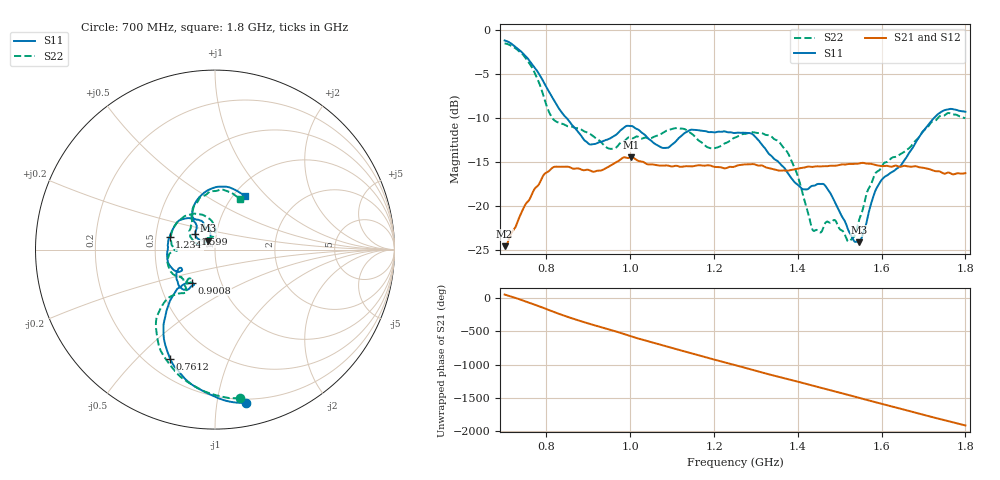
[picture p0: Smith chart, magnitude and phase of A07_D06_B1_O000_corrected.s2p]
! Created with skrf 1.9.0 (http://scikit-rf.org).
# Hz S RI R 50.0
!freq ReS11 ImS11 ReS21 ImS21 ReS12 ImS12 ReS22 ImS22
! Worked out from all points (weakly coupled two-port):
!   1601 points, 700 MHz to 1.8 GHz, reference 50 ohm
!   highest |S21| = -14.46 dB at 1.002 GHz (marker M1); lowest = -24.6 dB at 700 MHz (marker M2)
!   lowest |S11| = -24.1 dB at 1.546 GHz (marker M3), VSWR 1.13, Z = 46.3 + j4.71 ohm
!   |S11| at or under -10 dB: 848.1 MHz to 1.725 GHz (877.1 MHz wide, 68.2 % of centre)
!   |S22| runs from -24.0 to -1.5 dB; largest |S21 - S12| = 0.0034
!   S11 on the Smith chart (normalised r, x): 700 MHz: 0.17, -1.21; 761.2 MHz: 0.29, -0.63; 900.8 MHz: 0.72, -0.28; 1.234 GHz: 0.59, +0.09; 1.599 GHz: 0.79, +0.14; 1.8 GHz: 1.12, +0.76
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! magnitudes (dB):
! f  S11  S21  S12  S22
! 700 MHz  -1.2  -24.6  -24.3  -1.5
! 761.2 MHz  -3.6  -19.1  -19.0  -3.9
! 815.5 MHz  -7.8  -15.6  -15.7  -10.1
! 883.6 MHz  -12.1  -15.9  -15.8  -11.3
! 900.8 MHz  -12.9  -15.9  -15.9  -11.7
! 953 MHz  -12.3  -15.4  -15.4  -13.5
! 1.002 GHz  -10.9  -14.5  -14.6  -12.3
! 1.067 GHz  -13.2  -15.4  -15.3  -12.0
! 1.145 GHz  -11.3  -15.5  -15.5  -11.8
! 1.234 GHz  -11.6  -15.6  -15.6  -12.7
! 1.25 GHz  -11.7  -15.5  -15.4  -12.2
! 1.292 GHz  -11.8  -15.2  -15.3  -11.6
! 1.357 GHz  -15.2  -16.0  -15.9  -12.8
! 1.395 GHz  -17.4  -15.8  -15.8  -16.0
! 1.434 GHz  -17.7  -15.6  -15.5  -22.5
! 1.467 GHz  -17.8  -15.5  -15.5  -21.9
! 1.523 GHz  -23.0  -15.2  -15.2  -24.0
! 1.546 GHz  -24.1  -15.2  -15.1  -21.6
! 1.599 GHz  -17.1  -15.5  -15.4  -15.7
! 1.617 GHz  -16.4  -15.5  -15.4  -14.9
! 1.735 GHz  -9.6  -16.0  -16.1  -10.0
! 1.8 GHz  -9.3  -16.3  -16.3  -10.0
